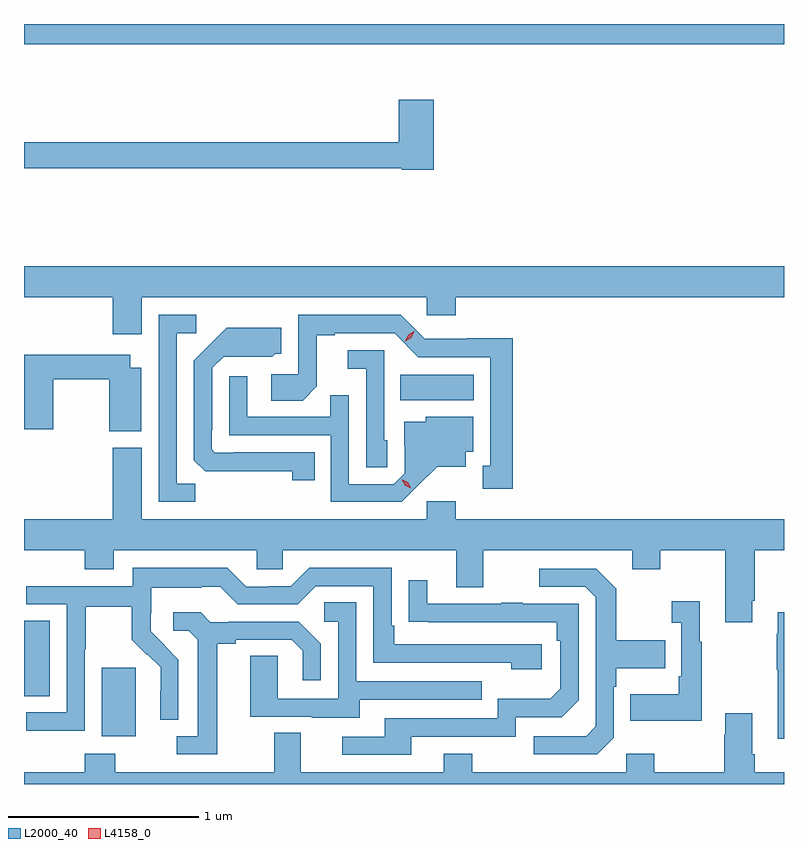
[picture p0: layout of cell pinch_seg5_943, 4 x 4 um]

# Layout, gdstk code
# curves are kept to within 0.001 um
import gdstk
lib = gdstk.Library(unit=1e-6, precision=1e-09)
def R(c, l, rs):  # rectangles x0, y0, x1, y1
    for r in rs: c.add(gdstk.rectangle(r[:2], r[2:], *l))
def P(c, l, *ps):  # polygons
    for p in ps: c.add(gdstk.Polygon(p, *l))
L2000_40 = (2000, 40)
L4158_0 = (4158, 0)

pinch_seg5_943 = lib.new_cell('pinch_seg5_943')
R(pinch_seg5_943, L2000_40, [(718.769,878.426,718.948,878.787), (718.359,878.638,718.495,879.035), (720.34,880.196,720.727,880.33), (718.359,882.068,722.359,882.175)])
P(pinch_seg5_943, L2000_40, [(720.515,881.776),(720.332,881.776),(720.332,881.552),(718.359,881.552),(718.359,881.416),(720.348,881.416),(720.348,881.408),(720.515,881.408)],
  [(718.978,880.736),(720.48,880.736),(720.48,880.643),(720.632,880.643),(720.632,880.736),(722.359,880.736),(722.359,880.9),(718.359,880.9),(718.359,880.736),(718.826,880.736),(718.826,880.542),(718.978,880.542)],
  [(719.259,879.755),(719.163,879.755),(719.163,880.548),(719.266,880.548),(719.266,880.644),(719.067,880.644),(719.067,879.66),(719.259,879.66)],
  [(720.931,880.52),(720.69,880.52),(720.69,880.518),(720.468,880.518),(720.342,880.644),(719.802,880.644),(719.802,880.332),(719.661,880.332),(719.661,880.192),(719.825,880.192),(719.901,880.268),(719.901,880.536),(719.995,880.536),(719.995,880.548),(720.309,880.548),(720.435,880.422),(720.812,880.422),(720.812,879.849),(720.773,879.849),(720.773,879.729),(720.931,879.729)],
  [(719.888,879.921),(719.464,879.921),(719.464,879.918),(719.364,879.918),(719.346,879.936),(719.346,880.036),(719.349,880.036),(719.349,880.365),(719.409,880.425),(719.666,880.424),(719.682,880.44),(719.713,880.44),(719.713,880.576),(719.425,880.576),(719.253,880.402),(719.253,879.88),(719.312,879.821),(719.77,879.82),(719.77,879.774),(719.888,879.774)],
  [(720.27,879.984),(720.255,879.984),(720.255,880.458),(720.063,880.458),(720.063,880.361),(720.159,880.361),(720.159,879.841),(720.27,879.841)],
  [(718.975,880.366),(718.918,880.366),(718.918,880.435),(718.359,880.435),(718.359,880.041),(718.512,880.041),(718.512,880.306),(718.808,880.306),(718.808,880.031),(718.975,880.031)],
  [(720.43,879.743),(720.533,879.845),(720.685,879.845),(720.685,879.924),(720.724,879.924),(720.724,880.108),(720.474,880.108),(720.474,880.081),(720.359,880.081),(720.359,879.952),(720.363,879.952),(720.363,879.81),(720.306,879.753),(720.069,879.753),(720.069,880.22),(719.971,880.22),(719.971,880.107),(719.535,880.107),(719.535,880.321),(719.439,880.321),(719.439,880.011),(719.973,880.011),(719.973,879.66),(720.346,879.66)],
  [(722.191,879.139),(722.204,879.139),(722.204,879.404),(722.359,879.404),(722.359,879.568),(720.632,879.568),(720.632,879.664),(720.48,879.664),(720.48,879.568),(718.978,879.568),(718.978,879.946),(718.826,879.946),(718.826,879.568),(718.359,879.568),(718.359,879.404),(718.679,879.404),(718.679,879.305),(718.831,879.305),(718.831,879.404),(719.583,879.404),(719.583,879.306),(719.721,879.306),(719.721,879.404),(720.635,879.404),(720.635,879.21),(720.775,879.21),(720.775,879.404),(721.559,879.404),(721.559,879.305),(721.707,879.305),(721.707,879.404),(722.051,879.404),(722.051,879.027),(722.191,879.027)],
  [(718.68,878.884),(718.683,878.884),(718.683,879.108),(718.927,879.108),(718.927,878.933),(719.004,878.856),(719.007,878.859),(719.078,878.789),(719.078,878.666),(719.076,878.666),(719.076,878.512),(719.172,878.512),(719.172,878.83),(719.026,878.978),(719.026,879.075),(719.028,879.075),(719.028,879.209),(719.291,879.209),(719.291,879.213),(719.391,879.213),(719.484,879.12),(719.799,879.12),(719.895,879.216),(720.198,879.216),(720.198,878.814),(720.923,878.814),(720.923,878.78),(721.084,878.78),(721.084,878.91),(720.307,878.91),(720.307,879.007),(720.294,879.007),(720.294,879.312),(719.859,879.312),(719.763,879.216),(719.645,879.216),(719.645,879.213),(719.529,879.213),(719.429,879.313),(718.932,879.313),(718.932,879.216),(718.371,879.216),(718.371,879.12),(718.584,879.12),(718.584,878.553),(718.371,878.553),(718.371,878.455),(718.68,878.455)],
  [(721.464,878.418),(721.464,878.687),(721.477,878.687),(721.477,878.783),(721.733,878.783),(721.733,878.931),(721.477,878.931),(721.477,879.203),(721.371,879.309),(721.071,879.309),(721.071,879.213),(721.314,879.213),(721.368,879.159),(721.368,878.478),(721.317,878.427),(721.041,878.427),(721.041,878.331),(721.377,878.331)],
  [(720.397,878.424),(720.948,878.424),(720.948,878.526),(721.188,878.526),(721.278,878.616),(721.278,879.123),(720.983,879.123),(720.983,879.128),(720.871,879.128),(720.871,879.123),(720.481,879.123),(720.481,879.247),(720.385,879.247),(720.385,879.028),(721.162,879.027),(721.162,878.93),(721.182,878.93),(721.182,878.676),(721.129,878.623),(720.852,878.623),(720.852,878.52),(720.257,878.52),(720.257,878.424),(720.033,878.424),(720.033,878.328),(720.397,878.328)],
  [(721.927,878.923),(721.915,878.923),(721.915,879.136),(721.767,879.136),(721.767,879.023),(721.818,879.023),(721.818,878.743),(721.806,878.743),(721.806,878.647),(721.549,878.647),(721.549,878.507),(721.927,878.507)],
  [(720.127,878.619),(720.767,878.619),(720.767,878.715),(720.108,878.715),(720.108,879.131),(719.94,879.131),(719.94,879.03),(720.012,879.03),(720.012,878.625),(719.694,878.625),(719.694,878.849),(719.549,878.849),(719.549,878.529),(719.873,878.529),(719.873,878.525),(720.127,878.525)],
  [(719.377,878.912),(719.473,878.912),(719.473,878.934),(719.768,878.934),(719.825,878.877),(719.825,878.721),(719.922,878.721),(719.922,878.914),(719.806,879.03),(719.434,879.03),(719.434,879.027),(719.34,879.027),(719.288,879.079),(719.145,879.079),(719.145,878.982),(719.226,878.982),(719.273,878.935),(719.273,878.427),(719.163,878.427),(719.163,878.331),(719.377,878.331)],
  [(722.359,879.079),(722.327,879.079),(722.327,878.966),(722.32,878.966),(722.32,878.777),(722.327,878.777),(722.327,878.412),(722.359,878.412)],
  [(718.679,878.236),(718.359,878.236),(718.359,878.175),(722.359,878.175),(722.359,878.236),(722.204,878.236),(722.204,878.332),(722.191,878.332),(722.191,878.548),(722.051,878.548),(722.051,878.435),(722.044,878.435),(722.044,878.236),(721.677,878.236),(721.677,878.335),(721.53,878.335),(721.53,878.236),(720.717,878.236),(720.717,878.335),(720.569,878.335),(720.569,878.236),(719.815,878.236),(719.815,878.444),(719.675,878.444),(719.675,878.236),(718.839,878.236),(718.839,878.335),(718.679,878.335)])
P(pinch_seg5_943, L4158_0, [(720.365,880.506),(720.365,880.506),(720.382,880.539),(720.413,880.558),(720.413,880.558),(720.413,880.558),(720.396,880.525),(720.365,880.506)],
  [(720.395,879.732),(720.364,879.748),(720.347,879.778),(720.347,879.778),(720.348,879.778),(720.378,879.763),(720.395,879.733),(720.395,879.732)])

lib.write_gds('pinch_seg5_943.gds')
